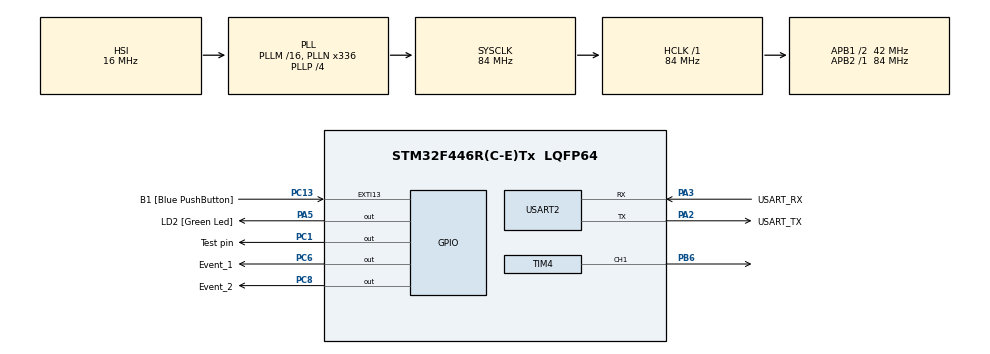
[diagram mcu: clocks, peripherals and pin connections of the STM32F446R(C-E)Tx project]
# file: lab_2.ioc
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Mcu.Family=STM32F4
FREERTOS.Queues01=uartTxQueue,10,uint8_t *,0,Dynamic,NULL,NULL
PH0-OSC_IN.Signal=RCC_OSC_IN
RCC.CortexFreq_Value=84000000
Dma.USART2_TX.0.PeriphDataAlignment=DMA_PDATAALIGN_BYTE
VP_ADC1_TempSens_Input.Mode=IN-TempSens
ADC1.ContinuousConvMode=ENABLE
PA14.GPIO_Label=TCK
PC6.GPIO_Label=Event_1
PC13.GPIO_Label=B1 [Blue PushButton]
Dma.USART2_TX.0.FIFOMode=DMA_FIFOMODE_DISABLE
Dma.USART2_RX.1.MemDataAlignment=DMA_MDATAALIGN_BYTE
RCC.SYSCLKSource=RCC_SYSCLKSOURCE_PLLCLK
ProjectManager.StackSize=0x400
NVIC.ADC_IRQn=true\:6\:0\:true\:false\:true\:true\:true\:true
Dma.USART2_TX.0.Priority=DMA_PRIORITY_LOW
FREERTOS.INCLUDE_pcTaskGetTaskName=1
FREERTOS.configUSE_STATS_FORMATTING_FUNCTIONS=1
RCC.HCLKFreq_Value=84000000
ADC1.Resolution=ADC_RESOLUTION_12B
RCC.APB2TimFreq_Value=84000000
PB6.Signal=S_TIM4_CH1
Dma.USART2_RX.1.PeriphInc=DMA_PINC_DISABLE
Dma.USART2_RX.1.MemInc=DMA_MINC_ENABLE
RCC.AHBFreq_Value=84000000
PH0-OSC_IN.Mode=HSE-External-Oscillator
NVIC.EXTI15_10_IRQn=true\:5\:0\:false\:false\:true\:true\:true\:true
ADC1.Channel-0\#ChannelRegularConversion=ADC_CHANNEL_TEMPSENSOR
RCC.HSE_VALUE=8000000
Dma.ADC1.2.MemDataAlignment=DMA_MDATAALIGN_HALFWORD
PC14-OSC32_IN.Mode=LSE-External-Oscillator
PA14.Mode=Serial_Wire
Dma.ADC1.2.Direction=DMA_PERIPH_TO_MEMORY
TIM4.Channel-Output\ Compare1\ CH1=TIM_CHANNEL_1
Dma.USART2_TX.0.MemDataAlignment=DMA_MDATAALIGN_BYTE
TIM4.Period=65535
VP_FREERTOS_VS_CMSIS_V1.Mode=CMSIS_V1
Dma.USART2_TX.0.Direction=DMA_MEMORY_TO_PERIPH
Dma.USART2_TX.0.Instance=DMA1_Stream6
ADC1.SamplingTime-0\#ChannelRegularConversion=ADC_SAMPLETIME_3CYCLES
RCC.FLatency-AdvancedSettings=FLASH_LATENCY_2
PH1-OSC_OUT.Mode=HSE-External-Oscillator
Mcu.Package=LQFP64
FREERTOS.INCLUDE_xTaskAbortDelay=1
NVIC.TimeBase=TIM7_IRQn
USART2.VirtualMode=VM_ASYNC
PA2.GPIO_Label=USART_TX
NVIC.TimeBaseIP=TIM7
Dma.USART2_TX.0.Mode=DMA_NORMAL
SH.S_TIM4_CH1.0=TIM4_CH1,Output Compare1 CH1
Dma.Request2=ADC1
Dma.Request1=USART2_RX
RCC.APB1TimFreq_Value=84000000
FREERTOS.configGENERATE_RUN_TIME_STATS=1
Dma.USART2_RX.1.Mode=DMA_CIRCULAR
NVIC.DMA1_Stream6_IRQn=true\:5\:0\:false\:false\:true\:true\:true\:true
Dma.Request0=USART2_TX
NVIC.TIM7_IRQn=true\:0\:0\:false\:false\:true\:false\:false\:true
Dma.ADC1.2.Mode=DMA_NORMAL
PA3.Signal=USART2_RX
PB3.GPIO_Label=SWO
PC15-OSC32_OUT.Mode=LSE-External-Oscillator
Dma.USART2_RX.1.Priority=DMA_PRIORITY_LOW
TIM4.AutoReloadPreload=TIM_AUTORELOAD_PRELOAD_ENABLE
FREERTOS.Tasks01=defaultTask,0,128,StartDefaultTask,Default,NULL,Dynamic,NULL,NULL;uartTxTask,0,128,StartUartTxTask,Default,NULL,Dynamic,NULL,NULL;statsTask,-3,260,StartStatsTask,Default,NULL,Dynamic,NULL,NULL;ADCTask,0,128,StartADCTask,Default,NULL,Dynamic,NULL,NULL
ADC1.Rank-0\#ChannelRegularConversion=1
Dma.USART2_RX.1.FIFOMode=DMA_FIFOMODE_DISABLE
Dma.USART2_TX.0.MemInc=DMA_MINC_ENABLE
TIM4.CounterMode=TIM_COUNTERMODE_UP
FREERTOS.INCLUDE_xTaskGetCurrentTaskHandle=1
PC13.Signal=GPXTI13
VP_SYS_VS_tim7.Mode=TIM7
Dma.ADC1.2.PeriphDataAlignment=DMA_PDATAALIGN_HALFWORD
FREERTOS.INCLUDE_vTaskDelayUntil=1
PC8.Signal=GPIO_Output
PC6.Signal=GPIO_Output
RCC.APB1CLKDivider=RCC_HCLK_DIV2
PC14-OSC32_IN.Signal=RCC_OSC32_IN
NVIC.USART2_IRQn=true\:5\:0\:false\:false\:true\:true\:true\:true
FREERTOS.INCLUDE_uxTaskGetStackHighWaterMark=1
PC8.GPIO_Label=Event_2
PA13.Signal=SYS_JTMS-SWDIO
PA3.Mode=Asynchronous
Dma.ADC1.2.MemInc=DMA_MINC_ENABLE
ProjectManager.TargetToolchain=STM32CubeIDE
NVIC.DMA1_Stream5_IRQn=true\:5\:0\:false\:false\:true\:true\:true\:true
FREERTOS.configUSE_TRACE_FACILITY=1
RCC.USBFreq_Value=168000000
TIM4.Prescaler=83
TIM4.OCMode_1=TIM_OCMODE_TOGGLE
PC15-OSC32_OUT.Signal=RCC_OSC32_OUT
Dma.USART2_RX.1.Instance=DMA1_Stream5
Dma.USART2_RX.1.Direction=DMA_PERIPH_TO_MEMORY
PA5.Signal=GPIO_Output
Dma.USART2_RX.1.PeriphDataAlignment=DMA_PDATAALIGN_BYTE
board=NUCLEO-F446RE
RCC.VCOOutputFreq_Value=336000000
TIM4.Pulse-Output\ Compare1\ CH1=10
FREERTOS.INCLUDE_eTaskGetState=1
RCC.APB2Freq_Value=84000000
TIM4.ClockDivision=TIM_CLOCKDIVISION_DIV1
PC1.GPIO_Label=Test pin
PH1-OSC_OUT.Signal=RCC_OSC_OUT
PA13.Mode=Serial_Wire
Mcu.Name=STM32F446R(C-E)Tx
NVIC.DMA2_Stream4_IRQn=true\:5\:0\:false\:false\:true\:true\:false\:true
PA2.Signal=USART2_TX
PA13.GPIO_Label=TMS
Dma.ADC1.2.Instance=DMA2_Stream4
RCC.48MHZClocksFreq_Value=84000000
PB3.Signal=SYS_JTDO-SWO
RCC.SYSCLKFreq_VALUE=84000000
Dma.ADC1.2.Priority=DMA_PRIORITY_LOW
ADC1.master=1
Dma.USART2_TX.0.PeriphInc=DMA_PINC_DISABLE
PA5.GPIO_Label=LD2 [Green Led]
Dma.ADC1.2.PeriphInc=DMA_PINC_DISABLE
PC13.GPIO_ModeDefaultEXTI=GPIO_MODE_IT_FALLING
PA14.Signal=SYS_JTCK-SWCLK
ProjectManager.HeapSize=0x200
Dma.ADC1.2.FIFOMode=DMA_FIFOMODE_DISABLE
FREERTOS.INCLUDE_xTaskGetHandle=1
RCC.HSI_VALUE=16000000
VP_TIM4_VS_ClockSourceINT.Mode=Internal
RCC.PLLP=RCC_PLLP_DIV4
PC1.GPIO_ModeDefaultOutputPP=GPIO_MODE_OUTPUT_PP
NVIC.PriorityGroup=NVIC_PRIORITYGROUP_4
ADC1.NbrOfConversionFlag=1
RCC.PLLN=336
PA2.Mode=Asynchronous
NVIC.TIM4_IRQn=true\:5\:0\:true\:false\:true\:true\:true\:true
RCC.APB1Freq_Value=42000000
ADC1.ClockPrescaler=ADC_CLOCK_SYNC_PCLK_DIV8
PC1.Signal=GPIO_Output
PA3.GPIO_Label=USART_RX

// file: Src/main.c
/* USER CODE BEGIN Header */
/**
  ******************************************************************************
  * @file           : main.c
  * @brief          : Main program body
  ******************************************************************************
  * @attention
  *
  * <h2><center>&copy; Copyright (c) 2020 STMicroelectronics.
  * All rights reserved.</center></h2>
  *
  * This software component is licensed by ST under Ultimate Liberty license
  * SLA0044, the "License"; You may not use this file except in compliance with
  * the License. You may obtain a copy of the License at:
  *                             www.st.com/SLA0044
  *
  ******************************************************************************
  */
/* USER CODE END Header */

#include "main.h"
#include "cmsis_os.h"

ADC_HandleTypeDef hadc1;
DMA_HandleTypeDef hdma_adc1;

TIM_HandleTypeDef htim4;

UART_HandleTypeDef huart2;
DMA_HandleTypeDef hdma_usart2_tx;
DMA_HandleTypeDef hdma_usart2_rx;

osThreadId defaultTaskHandle;
osThreadId uartTxTaskHandle;
osThreadId statsTaskHandle;
osThreadId ADCTaskHandle;
osMessageQId uartTxQueueHandle;
/* USER CODE BEGIN PV */
uint8_t  trig[] = "Triggered!";
uint8_t *msg1 =  trig;
uint8_t help[] = "This code monitors for blue/user button trigger, and reads ADC1 when asked with letter 't'";
uint8_t *msg_help = help;
/* USER CODE END PV */

void SystemClock_Config(void);
static void MX_GPIO_Init(void);
static void MX_DMA_Init(void);
static void MX_USART2_UART_Init(void);
static void MX_ADC1_Init(void);
static void MX_TIM4_Init(void);
void StartDefaultTask(void const * argument);
void StartUartTxTask(void const * argument);
void StartStatsTask(void const * argument);
void StartADCTask(void const * argument);

/* USER CODE BEGIN 0 */
volatile uint8_t buf[1];
const uint16_t buf_len = 1;

/* USER CODE END 0 */

int main(void)
{

  /* MCU Configuration--------------------------------------------------------*/

  /* Reset of all peripherals, Initializes the Flash interface and the Systick. */
  HAL_Init();

  /* Configure the system clock */
  SystemClock_Config();

  /* Initialize all configured peripherals */
  MX_GPIO_Init();
  MX_DMA_Init();
  MX_USART2_UART_Init();
  MX_ADC1_Init();
  MX_TIM4_Init();
  /* USER CODE BEGIN 2 */
  HAL_UART_Receive_IT(&huart2, (uint8_t*)buf, buf_len);

  HAL_TIM_Base_Start_IT(&htim4);

  /* USER CODE END 2 */

  /* Create the queue(s) */
  /* definition and creation of uartTxQueue */
  osMessageQDef(uartTxQueue, 10, uint8_t *);
  uartTxQueueHandle = osMessageCreate(osMessageQ(uartTxQueue), NULL);

  /* Create the thread(s) */
  /* definition and creation of defaultTask */
  osThreadDef(defaultTask, StartDefaultTask, osPriorityNormal, 0, 128);
  defaultTaskHandle = osThreadCreate(osThread(defaultTask), NULL);

  /* definition and creation of uartTxTask */
  osThreadDef(uartTxTask, StartUartTxTask, osPriorityNormal, 0, 128);
  uartTxTaskHandle = osThreadCreate(osThread(uartTxTask), NULL);

  /* definition and creation of statsTask */
  osThreadDef(statsTask, StartStatsTask, osPriorityIdle, 0, 260);
  statsTaskHandle = osThreadCreate(osThread(statsTask), NULL);

  /* definition and creation of ADCTask */
  osThreadDef(ADCTask, StartADCTask, osPriorityNormal, 0, 128);
  ADCTaskHandle = osThreadCreate(osThread(ADCTask), NULL);

  /* Start scheduler */
  osKernelStart();

  /* We should never get here as control is now taken by the scheduler */
  /* Infinite loop */
  while (1)
  {

  }
}

void SystemClock_Config(void)
{
  RCC_OscInitTypeDef RCC_OscInitStruct = {0};
  RCC_ClkInitTypeDef RCC_ClkInitStruct = {0};

  /** Configure the main internal regulator output voltage
  */
  __HAL_RCC_PWR_CLK_ENABLE();
  __HAL_PWR_VOLTAGESCALING_CONFIG(PWR_REGULATOR_VOLTAGE_SCALE3);
  /** Initializes the CPU, AHB and APB busses clocks
  */
  RCC_OscInitStruct.OscillatorType = RCC_OSCILLATORTYPE_HSI;
  RCC_OscInitStruct.HSIState = RCC_HSI_ON;
  RCC_OscInitStruct.HSICalibrationValue = RCC_HSICALIBRATION_DEFAULT;
  RCC_OscInitStruct.PLL.PLLState = RCC_PLL_ON;
  RCC_OscInitStruct.PLL.PLLSource = RCC_PLLSOURCE_HSI;
  RCC_OscInitStruct.PLL.PLLM = 16;
  RCC_OscInitStruct.PLL.PLLN = 336;
  RCC_OscInitStruct.PLL.PLLP = RCC_PLLP_DIV4;
  RCC_OscInitStruct.PLL.PLLQ = 2;
  RCC_OscInitStruct.PLL.PLLR = 2;
  if (HAL_RCC_OscConfig(&RCC_OscInitStruct) != HAL_OK)
  {
    Error_Handler();
  }
  /** Initializes the CPU, AHB and APB busses clocks
  */
  RCC_ClkInitStruct.ClockType = RCC_CLOCKTYPE_HCLK|RCC_CLOCKTYPE_SYSCLK
                              |RCC_CLOCKTYPE_PCLK1|RCC_CLOCKTYPE_PCLK2;
  RCC_ClkInitStruct.SYSCLKSource = RCC_SYSCLKSOURCE_PLLCLK;
  RCC_ClkInitStruct.AHBCLKDivider = RCC_SYSCLK_DIV1;
  RCC_ClkInitStruct.APB1CLKDivider = RCC_HCLK_DIV2;
  RCC_ClkInitStruct.APB2CLKDivider = RCC_HCLK_DIV1;

  if (HAL_RCC_ClockConfig(&RCC_ClkInitStruct, FLASH_LATENCY_2) != HAL_OK)
  {
    Error_Handler();
  }
}

static void MX_ADC1_Init(void)
{

  ADC_ChannelConfTypeDef sConfig = {0};

  /** Configure the global features of the ADC (Clock, Resolution, Data Alignment and number of conversion)
  */
  hadc1.Instance = ADC1;
  hadc1.Init.ClockPrescaler = ADC_CLOCK_SYNC_PCLK_DIV8;
  hadc1.Init.Resolution = ADC_RESOLUTION_12B;
  hadc1.Init.ScanConvMode = DISABLE;
  hadc1.Init.ContinuousConvMode = ENABLE;
  hadc1.Init.DiscontinuousConvMode = DISABLE;
  hadc1.Init.ExternalTrigConvEdge = ADC_EXTERNALTRIGCONVEDGE_NONE;
  hadc1.Init.ExternalTrigConv = ADC_SOFTWARE_START;
  hadc1.Init.DataAlign = ADC_DATAALIGN_RIGHT;
  hadc1.Init.NbrOfConversion = 1;
  hadc1.Init.DMAContinuousRequests = DISABLE;
  hadc1.Init.EOCSelection = ADC_EOC_SINGLE_CONV;
  if (HAL_ADC_Init(&hadc1) != HAL_OK)
  {
    Error_Handler();
  }
  /** Configure for the selected ADC regular channel its corresponding rank in the sequencer and its sample time.
  */
  sConfig.Channel = ADC_CHANNEL_TEMPSENSOR;
  sConfig.Rank = 1;
  sConfig.SamplingTime = ADC_SAMPLETIME_3CYCLES;
  if (HAL_ADC_ConfigChannel(&hadc1, &sConfig) != HAL_OK)
  {
    Error_Handler();
  }

}

static void MX_TIM4_Init(void)
{

  TIM_ClockConfigTypeDef sClockSourceConfig = {0};
  TIM_MasterConfigTypeDef sMasterConfig = {0};
  TIM_OC_InitTypeDef sConfigOC = {0};

  htim4.Instance = TIM4;
  htim4.Init.Prescaler = 83;
  htim4.Init.CounterMode = TIM_COUNTERMODE_UP;
  htim4.Init.Period = 65535;
  htim4.Init.ClockDivision = TIM_CLOCKDIVISION_DIV1;
  htim4.Init.AutoReloadPreload = TIM_AUTORELOAD_PRELOAD_ENABLE;
  if (HAL_TIM_Base_Init(&htim4) != HAL_OK)
  {
    Error_Handler();
  }
  sClockSourceConfig.ClockSource = TIM_CLOCKSOURCE_INTERNAL;
  if (HAL_TIM_ConfigClockSource(&htim4, &sClockSourceConfig) != HAL_OK)
  {
    Error_Handler();
  }
  if (HAL_TIM_OC_Init(&htim4) != HAL_OK)
  {
    Error_Handler();
  }
  sMasterConfig.MasterOutputTrigger = TIM_TRGO_RESET;
  sMasterConfig.MasterSlaveMode = TIM_MASTERSLAVEMODE_DISABLE;
  if (HAL_TIMEx_MasterConfigSynchronization(&htim4, &sMasterConfig) != HAL_OK)
  {
    Error_Handler();
  }
  sConfigOC.OCMode = TIM_OCMODE_TOGGLE;
  sConfigOC.Pulse = 10;
  sConfigOC.OCPolarity = TIM_OCPOLARITY_HIGH;
  sConfigOC.OCFastMode = TIM_OCFAST_DISABLE;
  if (HAL_TIM_OC_ConfigChannel(&htim4, &sConfigOC, TIM_CHANNEL_1) != HAL_OK)
  {
    Error_Handler();
  }
  HAL_TIM_MspPostInit(&htim4);

}

static void MX_USART2_UART_Init(void)
{

  huart2.Instance = USART2;
  huart2.Init.BaudRate = 115200;
  huart2.Init.WordLength = UART_WORDLENGTH_8B;
  huart2.Init.StopBits = UART_STOPBITS_1;
  huart2.Init.Parity = UART_PARITY_NONE;
  huart2.Init.Mode = UART_MODE_TX_RX;
  huart2.Init.HwFlowCtl = UART_HWCONTROL_NONE;
  huart2.Init.OverSampling = UART_OVERSAMPLING_16;
  if (HAL_UART_Init(&huart2) != HAL_OK)
  {
    Error_Handler();
  }

}

static void MX_DMA_Init(void)
{

  /* DMA controller clock enable */
  __HAL_RCC_DMA1_CLK_ENABLE();
  __HAL_RCC_DMA2_CLK_ENABLE();

  /* DMA interrupt init */
  /* DMA1_Stream5_IRQn interrupt configuration */
  HAL_NVIC_SetPriority(DMA1_Stream5_IRQn, 5, 0);
  HAL_NVIC_EnableIRQ(DMA1_Stream5_IRQn);
  /* DMA1_Stream6_IRQn interrupt configuration */
  HAL_NVIC_SetPriority(DMA1_Stream6_IRQn, 5, 0);
  HAL_NVIC_EnableIRQ(DMA1_Stream6_IRQn);
  /* DMA2_Stream4_IRQn interrupt configuration */
  HAL_NVIC_SetPriority(DMA2_Stream4_IRQn, 5, 0);
  HAL_NVIC_EnableIRQ(DMA2_Stream4_IRQn);

}

static void MX_GPIO_Init(void)
{
  GPIO_InitTypeDef GPIO_InitStruct = {0};

  /* GPIO Ports Clock Enable */
  __HAL_RCC_GPIOC_CLK_ENABLE();
  __HAL_RCC_GPIOH_CLK_ENABLE();
  __HAL_RCC_GPIOA_CLK_ENABLE();
  __HAL_RCC_GPIOB_CLK_ENABLE();

  /*Configure GPIO pin Output Level */
  HAL_GPIO_WritePin(GPIOC, Test_pin_Pin|Event_1_Pin|Event_2_Pin, GPIO_PIN_RESET);

  /*Configure GPIO pin Output Level */
  HAL_GPIO_WritePin(LD2_GPIO_Port, LD2_Pin, GPIO_PIN_RESET);

  /*Configure GPIO pin : B1_Pin */
  GPIO_InitStruct.Pin = B1_Pin;
  GPIO_InitStruct.Mode = GPIO_MODE_IT_FALLING;
  GPIO_InitStruct.Pull = GPIO_NOPULL;
  HAL_GPIO_Init(B1_GPIO_Port, &GPIO_InitStruct);

  /*Configure GPIO pins : Test_pin_Pin Event_1_Pin Event_2_Pin */
  GPIO_InitStruct.Pin = Test_pin_Pin|Event_1_Pin|Event_2_Pin;
  GPIO_InitStruct.Mode = GPIO_MODE_OUTPUT_PP;
  GPIO_InitStruct.Pull = GPIO_NOPULL;
  GPIO_InitStruct.Speed = GPIO_SPEED_FREQ_LOW;
  HAL_GPIO_Init(GPIOC, &GPIO_InitStruct);

  /*Configure GPIO pin : LD2_Pin */
  GPIO_InitStruct.Pin = LD2_Pin;
  GPIO_InitStruct.Mode = GPIO_MODE_OUTPUT_PP;
  GPIO_InitStruct.Pull = GPIO_NOPULL;
  GPIO_InitStruct.Speed = GPIO_SPEED_FREQ_LOW;
  HAL_GPIO_Init(LD2_GPIO_Port, &GPIO_InitStruct);

  /* EXTI interrupt init*/
  HAL_NVIC_SetPriority(EXTI15_10_IRQn, 5, 0);
  HAL_NVIC_EnableIRQ(EXTI15_10_IRQn);

}

/* USER CODE BEGIN 4 */
uint32_t LED_delay = 1000;
uint8_t LED_speedup = 200;

#define LED_G_PORT GPIOA
#define LED_G_PIN	GPIO_PIN_5

void HAL_UART_RxCpltCallback(UART_HandleTypeDef *huart)
{
	//BaseType_t xYieldRequired;
	if ((buf[0]=='t')||(buf[0] == 'T'))
	{
		// Start temperature reading from ADC
		//HAL_ADC_Start_IT(&hadc1);
		xTaskResumeFromISR( ADCTaskHandle );

	}
	if ((buf[0]=='h')||(buf[0]=='H')||(buf[0] == '?'))
	{
		xQueueGenericSendFromISR(uartTxQueueHandle, &msg_help, 10, queueSEND_TO_BACK);
	}
	HAL_UART_Receive_IT(&huart2, (uint8_t*)buf, buf_len);
 }

void HAL_ADC_ConvCpltCallback(ADC_HandleTypeDef* hadc)
{
  /* Prevent unused argument(s) compilation warning */
  //UNUSED(huart);
  /* NOTE: This function Should not be modified, when the callback is needed,
           the HAL_UART_TxCpltCallback could be implemented in the user file
   */
  //if (huart == huart2)
  {
	  BaseType_t xHigherPriorityTaskWoken = pdFALSE, xResult;
	  //	// ADC ready
	  uint32_t temp = HAL_ADC_GetValue(&hadc1);
	  uint8_t msg_buffer[80];
	  uint8_t *pTxBuff = NULL;
	  sprintf((char*)msg_buffer, "T:%d\n\r", temp);
	  pTxBuff = msg_buffer;
	  xQueueGenericSendFromISR(uartTxQueueHandle, &pTxBuff, 10, queueSEND_TO_BACK);
	  //xResult = xTaskNotifyFromISR( ADCTaskHandle, temp, 0,0);
	  xTaskGenericNotifyFromISR(ADCTaskHandle, temp, eIncrement, NULL, NULL);
  }
}

void HAL_GPIO_EXTI_Callback(uint16_t GPIO_Pin)
{
	if(LED_delay > LED_speedup ) LED_delay -= LED_speedup; else LED_delay=1000;
	//HAL_UART_Transmit(&huart2, msg1, strlen((char*)msg1), 5);
	//HAL_GPIO_WritePin(GPIOC, GPIO_PIN_9, 0);
	xQueueGenericSendFromISR(uartTxQueueHandle, &msg1, 10, queueSEND_TO_BACK);
}

/* USER CODE END 4 */

void StartDefaultTask(void const * argument)
{
  /* USER CODE BEGIN 5 */
	uint8_t msg_buffer[80];
	uint8_t *pTxBuff;
  /* Infinite loop */
  for(;;)
  {
		//if (LED_delay < 1000) LED_delay += 100; else LED_delay=1000;
		vTaskDelay(LED_delay); // Ticks
		HAL_GPIO_WritePin(LED_G_PORT,LED_G_PIN, 1); //Toggle LED
		vTaskDelay(LED_delay);
		HAL_GPIO_WritePin(LED_G_PORT, LED_G_PIN, 0); //Toggle LED

    //osDelay(1); // ms
  }
  /* USER CODE END 5 */
}

void StartUartTxTask(void const * argument)
{
  /* USER CODE BEGIN StartUartTxTask */
	uint32_t notification = 1;
	uint8_t *pTxBuff = NULL;
	/* Infinite loop */
	for(;;)
	{

		if (notification!=0)
		{
			while (pdFALSE==xQueueReceive( uartTxQueueHandle, &pTxBuff, portMAX_DELAY ));
			if (HAL_OK != HAL_UART_Transmit_DMA(&huart2, pTxBuff, strlen((const char*)pTxBuff)))
			{
				notification = 1;
			}
			else
			{
				notification = 0; // wait for ISR/Callback to indicate completion
			}
		}
		else
		{
			notification = ulTaskNotifyTake( pdTRUE, 100 );
		}
		osDelay(1);
	}
  /* USER CODE END StartUartTxTask */
}

void StartStatsTask(void const * argument)
{
  /* USER CODE BEGIN StartStatsTask */
  /* Infinite loop */
	// Stack usage of two tasks
	UBaseType_t dstack;
	UBaseType_t t2stack;
	// separate buffers for two messages (to avoid overwritting)
	uint8_t ps_buffer[40*4];
	uint8_t msg_buffer[80];
	uint8_t *pTxBuff;
  /* Infinite loop */
	  for(;;)
	  {
	    //osDelay(1000); // 1000ms
	    vTaskDelay(1000); // 1000 ticks = 1000 ms
	    vTaskGetRunTimeStats( (char*) ps_buffer ); // Generate CPU utilization info (human readable)
	    pTxBuff = ps_buffer;
	    xQueueGenericSend(uartTxQueueHandle, (void *)&pTxBuff, 10, queueSEND_TO_BACK);

		dstack = uxTaskGetStackHighWaterMark(defaultTaskHandle);
		t2stack = uxTaskGetStackHighWaterMark(statsTaskHandle);
		sprintf((char*)msg_buffer, "Stack High Mark: T_default=%ld, T_2=%ld\n\r", dstack, t2stack);
		pTxBuff = msg_buffer;
	    xQueueGenericSend(uartTxQueueHandle, &pTxBuff, 10, queueSEND_TO_BACK);
	  }
  /* USER CODE END StartStatsTask */
}

void StartADCTask(void const * argument)
{
  /* USER CODE BEGIN StartADCTask */
	uint32_t ADCValue;
	BaseType_t xResult;
	/* Infinite loop */
	for(;;)
	{
		vTaskSuspend( NULL );
		HAL_ADC_Start_IT(&hadc1);
		xResult = xTaskNotifyWait(0,0, &ADCValue, 100);
		//if(xResult == pdPASS)
		//{
		//}
	}
  /* USER CODE END StartADCTask */
}

 /**
  * @brief  Period elapsed callback in non blocking mode
  * @note   This function is called  when TIM7 interrupt took place, inside
  * HAL_TIM_IRQHandler(). It makes a direct call to HAL_IncTick() to increment
  * a global variable "uwTick" used as application time base.
  * @param  htim : TIM handle
  * @retval None
  */
void HAL_TIM_PeriodElapsedCallback(TIM_HandleTypeDef *htim)
{
  if (htim->Instance == TIM7) {
    HAL_IncTick();
  }
}

void Error_Handler(void)
{
}

/************************ (C) COPYRIGHT STMicroelectronics *****END OF FILE****/

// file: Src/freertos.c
/* USER CODE BEGIN Header */
/**
  ******************************************************************************
  * File Name          : freertos.c
  * Description        : Code for freertos applications
  ******************************************************************************
  * @attention
  *
  * <h2><center>&copy; Copyright (c) 2020 STMicroelectronics.
  * All rights reserved.</center></h2>
  *
  * This software component is licensed by ST under Ultimate Liberty license
  * SLA0044, the "License"; You may not use this file except in compliance with
  * the License. You may obtain a copy of the License at:
  *                             www.st.com/SLA0044
  *
  ******************************************************************************
  */
/* USER CODE END Header */

#include "FreeRTOS.h"
#include "task.h"
#include "main.h"

/* GetIdleTaskMemory prototype (linked to static allocation support) */
void vApplicationGetIdleTaskMemory( StaticTask_t **ppxIdleTaskTCBBuffer, StackType_t **ppxIdleTaskStackBuffer, uint32_t *pulIdleTaskStackSize );

/* Hook prototypes */
void configureTimerForRunTimeStats(void);
unsigned long getRunTimeCounterValue(void);

/* USER CODE BEGIN 1 */
uint32_t tim4_ov_counter=0;
extern TIM_HandleTypeDef htim4;

/* Functions needed when configGENERATE_RUN_TIME_STATS is on */
__weak void configureTimerForRunTimeStats(void)
{

}

__weak unsigned long getRunTimeCounterValue(void)
{
	return ((tim4_ov_counter << 16) + (uint32_t)__HAL_TIM_GET_COUNTER(&htim4));
}
/* USER CODE END 1 */

/* USER CODE BEGIN GET_IDLE_TASK_MEMORY */
static StaticTask_t xIdleTaskTCBBuffer;
static StackType_t xIdleStack[configMINIMAL_STACK_SIZE];

void vApplicationGetIdleTaskMemory( StaticTask_t **ppxIdleTaskTCBBuffer, StackType_t **ppxIdleTaskStackBuffer, uint32_t *pulIdleTaskStackSize )
{
  *ppxIdleTaskTCBBuffer = &xIdleTaskTCBBuffer;
  *ppxIdleTaskStackBuffer = &xIdleStack[0];
  *pulIdleTaskStackSize = configMINIMAL_STACK_SIZE;
  /* place for user code */
}
/* USER CODE END GET_IDLE_TASK_MEMORY */

/************************ (C) COPYRIGHT STMicroelectronics *****END OF FILE****/
